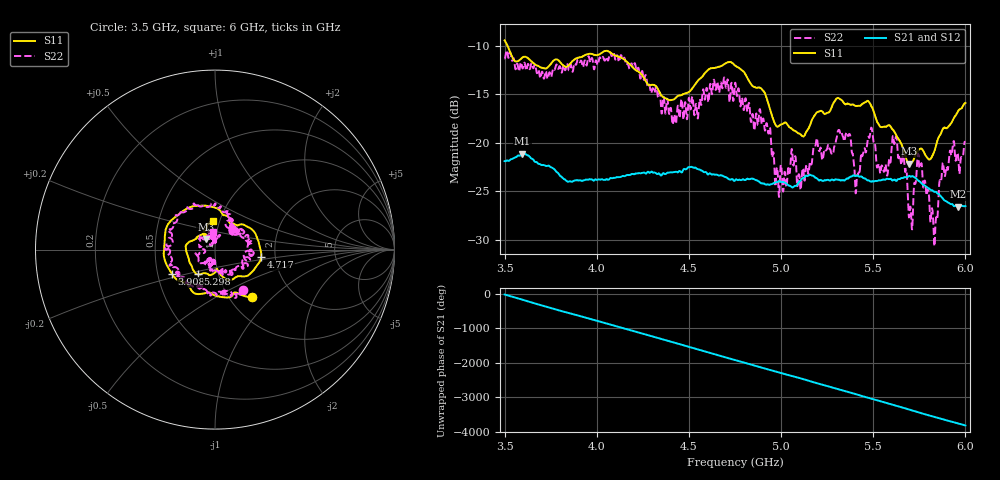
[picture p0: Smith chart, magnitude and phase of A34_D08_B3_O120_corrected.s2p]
! Created with skrf 1.9.0 (http://scikit-rf.org).
# Hz S RI R 50.0
!freq ReS11 ImS11 ReS21 ImS21 ReS12 ImS12 ReS22 ImS22
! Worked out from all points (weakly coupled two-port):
!   1601 points, 3.5 GHz to 6 GHz, reference 50 ohm
!   highest |S21| = -21.12 dB at 3.595 GHz (marker M1); lowest = -26.6 dB at 5.959 GHz (marker M2)
!   lowest |S11| = -22.1 dB at 5.695 GHz (marker M3), VSWR 1.17, Z = 44.8 + j5.29 ohm
!   |S11| at or under -10 dB: 3.516 GHz to end of sweep
!   |S22| runs from -30.6 to -10.5 dB; largest |S21 - S12| = 0.0011
!   S11 on the Smith chart (normalised r, x): 3.5 GHz: 1.27, -0.76; 3.908 GHz: 0.59, -0.17; 4.717 GHz: 1.69, -0.15; 5.298 GHz: 0.80, -0.23; 6 GHz: 0.93, +0.31
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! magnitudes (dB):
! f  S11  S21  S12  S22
! 3.5 GHz  -9.5  -21.9  -21.9  -11.3
! 3.595 GHz  -11.2  -21.1  -21.1  -12.2
! 3.908 GHz  -11.2  -23.9  -23.8  -11.7
! 3.917 GHz  -11.2  -23.9  -23.9  -11.6
! 4.334 GHz  -14.6  -23.1  -23.1  -15.3
! 4.717 GHz  -11.7  -23.8  -23.8  -15.1
! 4.75 GHz  -12.0  -23.9  -23.8  -13.8
! 4.931 GHz  -16.0  -24.3  -24.3  -19.0
! 4.98 GHz  -18.3  -24.1  -24.0  -22.7
! 5.167 GHz  -17.7  -23.4  -23.3  -22.0
! 5.298 GHz  -15.5  -23.8  -23.7  -19.7
! 5.367 GHz  -16.0  -23.6  -23.6  -19.1
! 5.411 GHz  -16.2  -23.4  -23.3  -23.6
! 5.484 GHz  -16.0  -24.0  -23.9  -18.8
! 5.584 GHz  -18.2  -23.7  -23.7  -21.9
! 5.617 GHz  -18.9  -23.8  -23.8  -19.9
! 5.695 GHz  -22.1  -23.4  -23.4  -27.6
! 5.752 GHz  -20.6  -24.0  -24.0  -22.6
! 5.838 GHz  -20.5  -25.0  -25.0  -28.4
! 5.87 GHz  -18.9  -25.6  -25.5  -23.6
! 5.959 GHz  -16.8  -26.6  -26.5  -21.2
! 6 GHz  -15.9  -26.5  -26.5  -19.9
